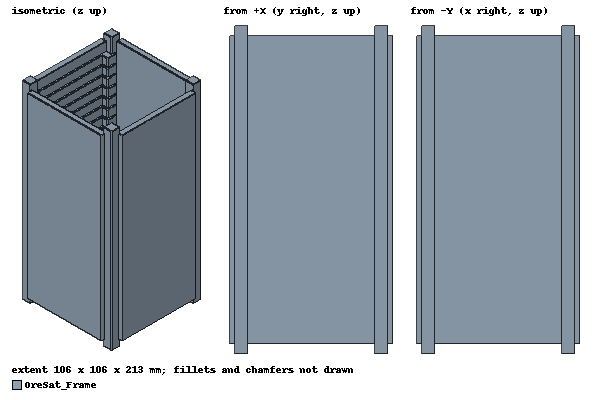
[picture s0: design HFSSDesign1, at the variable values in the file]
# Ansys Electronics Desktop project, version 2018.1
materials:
  vacuum: permittivity=1
  aluminum: permeability=1.000021 conductivity=38000000

design HFSSDesign1 (HFSS, DrivenModal, model units mm)
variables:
  t = 0
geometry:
  OreSat_Frame [aluminum] = box(corner=(-53mm, -53mm, 0mm), size=(106mm, 106mm, -200mm))
  Main_cavity = box(corner=(-47.75mm, -47.75mm, 0mm), size=(95.5mm, 95.5mm, -200mm))
  Slot1 = box(corner=(-44.8mm, 49.9mm, -10mm), size=(94.7mm, -99.8mm, -1.641mm))
  Slot2 = box(corner=(-44.8mm, 49.9mm, -20mm), size=(94.7mm, -99.8mm, -1.641mm))
  Slot3 = box(corner=(-44.8mm, 49.9mm, -30mm), size=(94.7mm, -99.8mm, -1.641mm))
  Slot4 = box(corner=(-44.8mm, 49.9mm, -40mm), size=(94.7mm, -99.8mm, -1.641mm))
  Slot5 = box(corner=(-44.8mm, 49.9mm, -50mm), size=(94.7mm, -99.8mm, -1.641mm))
  Slot6 = box(corner=(-44.8mm, 49.9mm, -60mm), size=(94.7mm, -99.8mm, -1.641mm))
  Slot7 = box(corner=(-44.8mm, 49.9mm, -70mm), size=(94.7mm, -99.8mm, -1.641mm))
  Slot8 = box(corner=(-44.8mm, 49.9mm, -80mm), size=(94.7mm, -99.8mm, -1.641mm))
  Slot9 = box(corner=(-44.8mm, 49.9mm, -108.359mm), size=(94.7mm, -99.8mm, -1.641mm))
  Slot10 = box(corner=(-44.8mm, 49.9mm, -118.359mm), size=(94.7mm, -99.8mm, -1.641mm))
  Slot11 = box(corner=(-44.8mm, 49.9mm, -128.359mm), size=(94.7mm, -99.8mm, -1.641mm))
  Slot12 = box(corner=(-44.8mm, 49.9mm, -138.359mm), size=(94.7mm, -99.8mm, -1.641mm))
  Slot13 = box(corner=(-44.8mm, 49.9mm, -148.359mm), size=(94.7mm, -99.8mm, -1.641mm))
  Slot14 = box(corner=(-44.8mm, 49.9mm, -158.359mm), size=(94.7mm, -99.8mm, -1.641mm))
  Slot15 = box(corner=(-44.8mm, 49.9mm, -168.359mm), size=(94.7mm, -99.8mm, -1.641mm))
  Slot16 = box(corner=(-44.8mm, 49.9mm, -178.359mm), size=(94.7mm, -99.8mm, -1.641mm))
  Slot17 = box(corner=(-44.8mm, 49.9mm, -188.359mm), size=(94.7mm, -99.8mm, -1.641mm))
  railCut1 = box(corner=(53mm, 53mm, 0mm), size=(-11.5mm, -11.5mm, -200mm))
  railCut2 = box(corner=(53mm, -53mm, 0mm), size=(-11.5mm, 11.5mm, -200mm))
  railCut3 = box(corner=(-53mm, -53mm, 0mm), size=(11.5mm, 11.5mm, -200mm))
  railCut4 = box(corner=(-53mm, 53mm, 0mm), size=(11.5mm, -11.5mm, -200mm))
  rail1 = box(corner=(41.5mm, 41.5mm, 6.5mm), size=(8.5mm, 8.5mm, -213mm))
  mount3 = box(corner=(-41.5mm, -41.5mm, -10mm), size=(4.5mm, -6.25mm, -180mm))
  mount2 = box(corner=(41.5mm, -41.5mm, -10mm), size=(-4.5mm, -6.25mm, -180mm))
  mount1 = box(corner=(41.5mm, 41.5mm, -10mm), size=(-4.5mm, 6.25mm, -180mm))
  mount4 = box(corner=(-41.5mm, 41.5mm, -10mm), size=(4.5mm, 6.25mm, -180mm))
  rail2 = box(corner=(41.5mm, -41.5mm, 6.5mm), size=(8.5mm, -8.5mm, -213mm))
  rail3 = box(corner=(-41.5mm, -41.5mm, 6.5mm), size=(-8.5mm, -8.5mm, -213mm))
  rail4 = box(corner=(-41.5mm, 41.5mm, 6.5mm), size=(-8.5mm, 8.5mm, -213mm))
  slotCornerCut2 = box(corner=(49.9mm, -49.9mm, -10mm), size=(-8.5mm, 15.5mm, -180mm))
  slotCornerCut1 = box(corner=(49.9mm, 49.9mm, -10mm), size=(-8.5mm, -15.5mm, -180mm))
  slotCorner2 = box(corner=(41.4mm, -34.4mm, -10mm), size=(4.9mm, -12.75mm, -180mm))
  slotCorner1 = box(corner=(41.4mm, 34.4mm, -10mm), size=(4.9mm, 12.75mm, -180mm))
  Slot1.chamfer(Edges=Slot1.edge(11 of 12, 9 of 12) LeftDistance=5.8mm RightDistance=5.8mm ChamferType=Symmetric)
  Slot2.chamfer(Edges=Slot2.edge(11 of 12, 9 of 12) LeftDistance=5.8mm RightDistance=5.8mm ChamferType=Symmetric)
  Slot3.chamfer(Edges=Slot3.edge(11 of 12, 9 of 12) LeftDistance=5.8mm RightDistance=5.8mm ChamferType=Symmetric)
  Slot4.chamfer(Edges=Slot4.edge(11 of 12, 9 of 12) LeftDistance=5.8mm RightDistance=5.8mm ChamferType=Symmetric)
  Slot5.chamfer(Edges=Slot5.edge(11 of 12, 9 of 12) LeftDistance=5.8mm RightDistance=5.8mm ChamferType=Symmetric)
  Slot6.chamfer(Edges=Slot6.edge(11 of 12, 9 of 12) LeftDistance=5.8mm RightDistance=5.8mm ChamferType=Symmetric)
  Slot7.chamfer(Edges=Slot7.edge(11 of 12, 9 of 12) LeftDistance=5.8mm RightDistance=5.8mm ChamferType=Symmetric)
  Slot8.chamfer(Edges=Slot8.edge(11 of 12, 9 of 12) LeftDistance=5.8mm RightDistance=5.8mm ChamferType=Symmetric)
  Slot9.chamfer(Edges=Slot9.edge(11 of 12, 9 of 12) LeftDistance=5.8mm RightDistance=5.8mm ChamferType=Symmetric)
  Slot10.chamfer(Edges=Slot10.edge(11 of 12, 9 of 12) LeftDistance=5.8mm RightDistance=5.8mm ChamferType=Symmetric)
  Slot11.chamfer(Edges=Slot11.edge(11 of 12, 9 of 12) LeftDistance=5.8mm RightDistance=5.8mm ChamferType=Symmetric)
  Slot12.chamfer(Edges=Slot12.edge(11 of 12, 9 of 12) LeftDistance=5.8mm RightDistance=5.8mm ChamferType=Symmetric)
  Slot13.chamfer(Edges=Slot13.edge(11 of 12, 9 of 12) LeftDistance=5.8mm RightDistance=5.8mm ChamferType=Symmetric)
  Slot14.chamfer(Edges=Slot14.edge(11 of 12, 9 of 12) LeftDistance=5.8mm RightDistance=5.8mm ChamferType=Symmetric)
  Slot15.chamfer(Edges=Slot15.edge(11 of 12, 9 of 12) LeftDistance=5.8mm RightDistance=5.8mm ChamferType=Symmetric)
  Slot16.chamfer(Edges=Slot16.edge(11 of 12, 9 of 12) LeftDistance=5.8mm RightDistance=5.8mm ChamferType=Symmetric)
  Slot17.chamfer(Edges=Slot17.edge(11 of 12, 9 of 12) LeftDistance=5.8mm RightDistance=5.8mm ChamferType=Symmetric)
  slotCornerCut1.subtract(slotCorner1)
  slotCornerCut2.subtract(slotCorner2)
  Main_cavity.subtract(mount1..mount4)
  OreSat_Frame.subtract(Main_cavity, railCut1..railCut4)
  slotCornerCut1_1 = slotCornerCut1.copy()
  slotCornerCut2_1 = slotCornerCut2.copy()
  Slot1.subtract(slotCornerCut1_1, slotCornerCut2_1)
  slotCornerCut1_2 = slotCornerCut1.copy()
  slotCornerCut2_2 = slotCornerCut2.copy()
  Slot10.subtract(slotCornerCut1_2, slotCornerCut2_2)
  slotCornerCut1_3 = slotCornerCut1.copy()
  slotCornerCut2_3 = slotCornerCut2.copy()
  Slot11.subtract(slotCornerCut1_3, slotCornerCut2_3)
  slotCornerCut1_4 = slotCornerCut1.copy()
  slotCornerCut2_4 = slotCornerCut2.copy()
  Slot12.subtract(slotCornerCut1_4, slotCornerCut2_4)
  slotCornerCut1_5 = slotCornerCut1.copy()
  slotCornerCut2_5 = slotCornerCut2.copy()
  Slot13.subtract(slotCornerCut1_5, slotCornerCut2_5)
  slotCornerCut1_6 = slotCornerCut1.copy()
  slotCornerCut2_6 = slotCornerCut2.copy()
  Slot14.subtract(slotCornerCut1_6, slotCornerCut2_6)
  slotCornerCut1_7 = slotCornerCut1.copy()
  slotCornerCut2_7 = slotCornerCut2.copy()
  Slot15.subtract(slotCornerCut1_7, slotCornerCut2_7)
  slotCornerCut1_8 = slotCornerCut1.copy()
  slotCornerCut2_8 = slotCornerCut2.copy()
  Slot16.subtract(slotCornerCut1_8, slotCornerCut2_8)
  slotCornerCut1_9 = slotCornerCut1.copy()
  slotCornerCut2_9 = slotCornerCut2.copy()
  Slot17.subtract(slotCornerCut1_9, slotCornerCut2_9)
  slotCornerCut1_10 = slotCornerCut1.copy()
  slotCornerCut2_10 = slotCornerCut2.copy()
  Slot2.subtract(slotCornerCut1_10, slotCornerCut2_10)
  slotCornerCut1_11 = slotCornerCut1.copy()
  slotCornerCut2_11 = slotCornerCut2.copy()
  Slot3.subtract(slotCornerCut1_11, slotCornerCut2_11)
  slotCornerCut1_12 = slotCornerCut1.copy()
  slotCornerCut2_12 = slotCornerCut2.copy()
  Slot4.subtract(slotCornerCut1_12, slotCornerCut2_12)
  slotCornerCut1_13 = slotCornerCut1.copy()
  slotCornerCut2_13 = slotCornerCut2.copy()
  Slot5.subtract(slotCornerCut1_13, slotCornerCut2_13)
  slotCornerCut1_14 = slotCornerCut1.copy()
  slotCornerCut2_14 = slotCornerCut2.copy()
  Slot6.subtract(slotCornerCut1_14, slotCornerCut2_14)
  slotCornerCut1_15 = slotCornerCut1.copy()
  slotCornerCut2_15 = slotCornerCut2.copy()
  Slot7.subtract(slotCornerCut1_15, slotCornerCut2_15)
  slotCornerCut1_16 = slotCornerCut1.copy()
  slotCornerCut2_16 = slotCornerCut2.copy()
  Slot8.subtract(slotCornerCut1_16, slotCornerCut2_16)
  Slot9.subtract(slotCornerCut1, slotCornerCut2)
  Slot1_1 = Slot1.copy()
  Slot10_1 = Slot10.copy()
  Slot11_1 = Slot11.copy()
  Slot12_1 = Slot12.copy()
  Slot13_1 = Slot13.copy()
  Slot14_1 = Slot14.copy()
  Slot15_1 = Slot15.copy()
  Slot16_1 = Slot16.copy()
  Slot17_1 = Slot17.copy()
  Slot2_1 = Slot2.copy()
  Slot3_1 = Slot3.copy()
  Slot4_1 = Slot4.copy()
  Slot5_1 = Slot5.copy()
  Slot6_1 = Slot6.copy()
  Slot7_1 = Slot7.copy()
  Slot8_1 = Slot8.copy()
  Slot9_1 = Slot9.copy()
  OreSat_Frame.subtract(Slot1_1, Slot10_1, Slot11_1, Slot12_1, Slot13_1, Slot14_1, Slot15_1, Slot16_1, Slot17_1, Slot2_1, Slot3_1, Slot4_1, Slot5_1, Slot6_1, Slot7_1, Slot8_1, Slot9_1)
  Slot1_2 = Slot1.copy()
  Slot10_2 = Slot10.copy()
  Slot11_2 = Slot11.copy()
  Slot12_2 = Slot12.copy()
  Slot13_2 = Slot13.copy()
  Slot14_2 = Slot14.copy()
  Slot15_2 = Slot15.copy()
  Slot16_2 = Slot16.copy()
  Slot17_2 = Slot17.copy()
  Slot2_2 = Slot2.copy()
  Slot3_2 = Slot3.copy()
  Slot4_2 = Slot4.copy()
  Slot5_2 = Slot5.copy()
  Slot6_2 = Slot6.copy()
  Slot7_2 = Slot7.copy()
  Slot8_2 = Slot8.copy()
  Slot9_2 = Slot9.copy()
  rail1.subtract(Slot1_2, Slot10_2, Slot11_2, Slot12_2, Slot13_2, Slot14_2, Slot15_2, Slot16_2, Slot17_2, Slot2_2, Slot3_2, Slot4_2, Slot5_2, Slot6_2, Slot7_2, Slot8_2, Slot9_2)
  Slot1_3 = Slot1.copy()
  Slot10_3 = Slot10.copy()
  Slot11_3 = Slot11.copy()
  Slot12_3 = Slot12.copy()
  Slot13_3 = Slot13.copy()
  Slot14_3 = Slot14.copy()
  Slot15_3 = Slot15.copy()
  Slot16_3 = Slot16.copy()
  Slot17_3 = Slot17.copy()
  Slot2_3 = Slot2.copy()
  Slot3_3 = Slot3.copy()
  Slot4_3 = Slot4.copy()
  Slot5_3 = Slot5.copy()
  Slot6_3 = Slot6.copy()
  Slot7_3 = Slot7.copy()
  Slot8_3 = Slot8.copy()
  Slot9_3 = Slot9.copy()
  rail2.subtract(Slot1_3, Slot10_3, Slot11_3, Slot12_3, Slot13_3, Slot14_3, Slot15_3, Slot16_3, Slot17_3, Slot2_3, Slot3_3, Slot4_3, Slot5_3, Slot6_3, Slot7_3, Slot8_3, Slot9_3)
  Slot1_4 = Slot1.copy()
  Slot10_4 = Slot10.copy()
  Slot11_4 = Slot11.copy()
  Slot12_4 = Slot12.copy()
  Slot13_4 = Slot13.copy()
  Slot14_4 = Slot14.copy()
  Slot15_4 = Slot15.copy()
  Slot16_4 = Slot16.copy()
  Slot17_4 = Slot17.copy()
  Slot2_4 = Slot2.copy()
  Slot3_4 = Slot3.copy()
  Slot4_4 = Slot4.copy()
  Slot5_4 = Slot5.copy()
  Slot6_4 = Slot6.copy()
  Slot7_4 = Slot7.copy()
  Slot8_4 = Slot8.copy()
  Slot9_4 = Slot9.copy()
  rail3.subtract(Slot1_4, Slot10_4, Slot11_4, Slot12_4, Slot13_4, Slot14_4, Slot15_4, Slot16_4, Slot17_4, Slot2_4, Slot3_4, Slot4_4, Slot5_4, Slot6_4, Slot7_4, Slot8_4, Slot9_4)
  rail4.subtract(Slot1, Slot10..Slot17, Slot2..Slot9)
  OreSat_Frame.unite(rail1..rail4)
